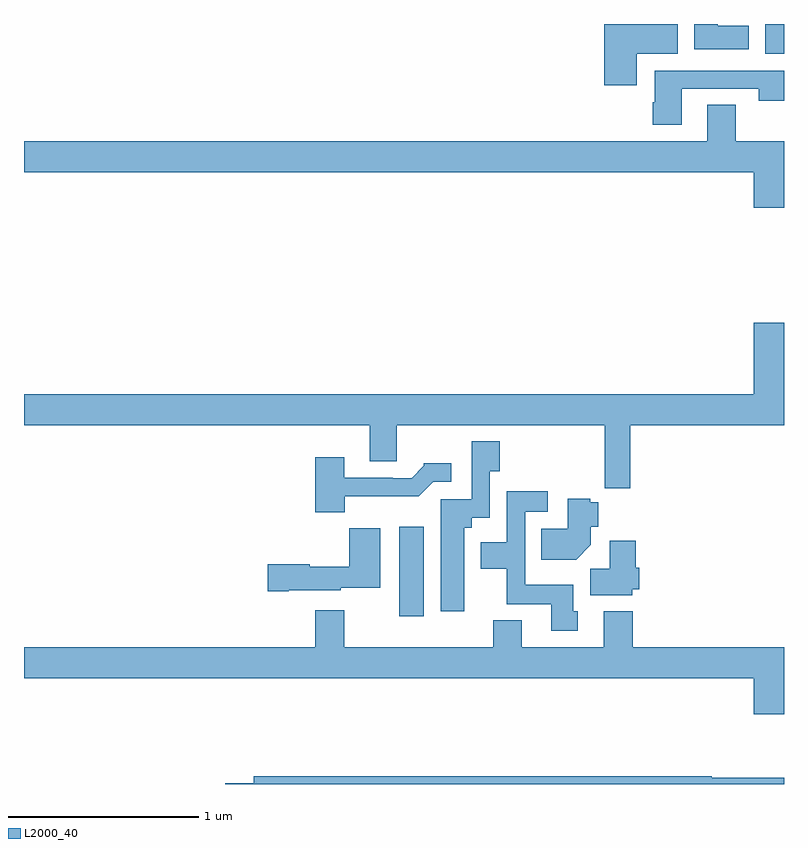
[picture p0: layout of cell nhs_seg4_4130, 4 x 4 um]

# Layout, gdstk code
import gdstk
lib = gdstk.Library(unit=1e-6, precision=1e-09)
def R(c, l, rs):  # rectangles x0, y0, x1, y1
    for r in rs: c.add(gdstk.rectangle(r[:2], r[2:], *l))
def P(c, l, *ps):  # polygons
    for p in ps: c.add(gdstk.Polygon(p, *l))
L2000_40 = (2000, 40)

nhs_seg4_4130 = lib.new_cell('nhs_seg4_4130')
R(nhs_seg4_4130, L2000_40, [(330.974,827.784,331.105,828.253), (332.9,830.744,333,830.9)])
P(nhs_seg4_4130, L2000_40, [(332.815,830.89),(332.65,830.89),(332.65,830.9),(332.528,830.9),(332.528,830.768),(332.815,830.768)],
  [(332.224,830.744),(332.44,830.744),(332.44,830.9),(332.054,830.9),(332.054,830.577),(332.224,830.577)],
  [(332.461,830.559),(332.866,830.559),(332.866,830.496),(333,830.496),(333,830.655),(332.321,830.655),(332.321,830.489),(332.309,830.489),(332.309,830.37),(332.461,830.37)],
  [(333,830.284),(332.745,830.284),(332.745,830.474),(332.597,830.474),(332.597,830.284),(329,830.284),(329,830.12),(332.84,830.12),(332.84,829.932),(333,829.932)],
  [(332.192,828.788),(333,828.788),(333,829.327),(332.84,829.327),(332.84,828.952),(329,828.952),(329,828.788),(330.821,828.788),(330.821,828.598),(330.961,828.598),(330.961,828.788),(332.056,828.788),(332.056,828.568),(332.057,828.568),(332.057,828.456),(332.192,828.456)],
  [(331.318,828.248),(331.357,828.248),(331.357,828.302),(331.452,828.302),(331.452,828.547),(331.505,828.547),(331.505,828.703),(331.356,828.703),(331.356,828.399),(331.193,828.399),(331.193,827.808),(331.318,827.808)],
  [(330.688,828.414),(331.077,828.414),(331.155,828.492),(331.249,828.492),(331.249,828.589),(331.104,828.589),(331.104,828.574),(331.04,828.51),(330.941,828.51),(330.941,828.513),(330.685,828.513),(330.685,828.619),(330.533,828.619),(330.533,828.329),(330.688,828.329)],
  [(331.915,827.808),(331.891,827.808),(331.891,827.95),(331.638,827.95),(331.638,828.333),(331.756,828.333),(331.756,828.442),(331.542,828.442),(331.542,828.172),(331.403,828.172),(331.403,828.032),(331.54,828.032),(331.54,827.846),(331.775,827.846),(331.775,827.706),(331.915,827.706)],
  [(331.984,828.158),(331.984,828.254),(332.023,828.254),(332.023,828.382),(331.98,828.382),(331.98,828.402),(331.862,828.402),(331.862,828.244),(331.723,828.244),(331.723,828.08),(331.906,828.08)],
  [(330.394,827.921),(330.666,827.921),(330.666,827.933),(330.874,827.933),(330.874,828.247),(330.712,828.247),(330.712,828.043),(330.504,828.043),(330.504,828.056),(330.282,828.056),(330.282,827.914),(330.394,827.914)],
  [(332.202,827.925),(332.237,827.925),(332.237,828.039),(332.219,828.039),(332.219,828.181),(332.084,828.181),(332.084,828.032),(331.979,828.032),(331.979,827.894),(332.202,827.894)],
  [(333,827.62),(332.204,827.62),(332.204,827.809),(332.051,827.809),(332.051,827.62),(331.621,827.62),(331.621,827.761),(331.469,827.761),(331.469,827.62),(330.685,827.62),(330.685,827.815),(330.533,827.815),(330.533,827.62),(329,827.62),(329,827.456),(332.84,827.456),(332.84,827.268),(333,827.268)],
  [(333,826.933),(332.62,826.933),(332.62,826.94),(330.209,826.94),(330.209,826.904),(330.06,826.904),(330.06,826.9),(333,826.9)])

lib.write_gds('nhs_seg4_4130.gds')
